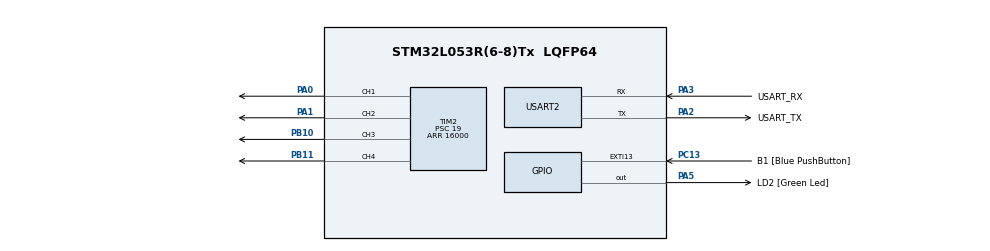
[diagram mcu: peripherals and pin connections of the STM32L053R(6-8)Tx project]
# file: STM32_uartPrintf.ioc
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Mcu.Family=STM32L0
Mcu.Name=STM32L053R(6-8)Tx
Mcu.Package=LQFP64
NVIC.TIM2_IRQn=true\:0\:0\:false\:false\:true\:true\:true\:true
NVIC.USART2_IRQn=true\:0\:0\:false\:false\:true\:true\:true\:true
PA0.Signal=S_TIM2_CH1
PA1.Signal=S_TIM2_CH2
PA13.GPIO_Label=TMS
PA13.Mode=Serial_Wire
PA13.Signal=SYS_SWDIO
PA14.GPIO_Label=TCK
PA14.Mode=Serial_Wire
PA14.Signal=SYS_SWCLK
PA2.GPIO_Label=USART_TX
PA2.Mode=Asynchronous
PA2.Signal=USART2_TX
PA3.GPIO_Label=USART_RX
PA3.Mode=Asynchronous
PA3.Signal=USART2_RX
PA5.GPIO_Label=LD2 [Green Led]
PA5.Signal=GPIO_Output
PB10.Signal=S_TIM2_CH3
PB11.Signal=S_TIM2_CH4
PC13.GPIO_Label=B1 [Blue PushButton]
PC13.GPIO_ModeDefaultEXTI=GPIO_MODE_IT_FALLING
PC13.Signal=GPXTI13
PC14-OSC32_IN.Mode=LSE-External-Oscillator
PC14-OSC32_IN.Signal=RCC_OSC32_IN
PC15-OSC32_OUT.Mode=LSE-External-Oscillator
PC15-OSC32_OUT.Signal=RCC_OSC32_OUT
PH0-OSC_IN.Mode=HSE-External-Clock-Source
PH0-OSC_IN.Signal=RCC_OSC_IN
PH1-OSC_OUT.Signal=RCC_OSC_OUT
ProjectManager.HeapSize=0x200
ProjectManager.StackSize=0x400
ProjectManager.TargetToolchain=STM32CubeIDE
RCC.AHBFreq_Value=16000000
RCC.APB1Freq_Value=16000000
RCC.APB1TimFreq_Value=16000000
RCC.APB2Freq_Value=16000000
RCC.APB2TimFreq_Value=16000000
RCC.HCLKFreq_Value=16000000
RCC.HSE_VALUE=8000000
RCC.HSI16_VALUE=16000000
RCC.HSI48_VALUE=48000000
RCC.HSI_VALUE=16000000
RCC.MSI_VALUE=2097000
RCC.SYSCLKFreq_VALUE=16000000
RCC.SYSCLKSource=RCC_SYSCLKSOURCE_HSI
RCC.VCOOutputFreq_Value=48000000
SH.S_TIM2_CH1.0=TIM2_CH1,PWM Generation1 CH1
SH.S_TIM2_CH2.0=TIM2_CH2,PWM Generation2 CH2
SH.S_TIM2_CH3.0=TIM2_CH3,PWM Generation3 CH3
SH.S_TIM2_CH4.0=TIM2_CH4,PWM Generation4 CH4
TIM2.Channel-PWM\ Generation1\ CH1=TIM_CHANNEL_1
TIM2.Channel-PWM\ Generation2\ CH2=TIM_CHANNEL_2
TIM2.Channel-PWM\ Generation3\ CH3=TIM_CHANNEL_3
TIM2.Channel-PWM\ Generation4\ CH4=TIM_CHANNEL_4
TIM2.Period=16000
TIM2.Prescaler=19
TIM2.Pulse-PWM\ Generation1\ CH1=4000
TIM2.Pulse-PWM\ Generation2\ CH2=4000
TIM2.Pulse-PWM\ Generation3\ CH3=4000
TIM2.Pulse-PWM\ Generation4\ CH4=4000
USART2.VirtualMode-Asynchronous=VM_ASYNC
VP_TIM2_VS_ClockSourceINT.Mode=Internal
board=NUCLEO-L053R8

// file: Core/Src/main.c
/* USER CODE BEGIN Header */
/**
  ******************************************************************************
  * @file           : main.c
  * @brief          : Main program body
  ******************************************************************************
  * @attention
  *
  * <h2><center>&copy; Copyright (c) 2020 STMicroelectronics.
  * All rights reserved.</center></h2>
  *
  * This software component is licensed by ST under BSD 3-Clause license,
  * the "License"; You may not use this file except in compliance with the
  * License. You may obtain a copy of the License at:
  *                        opensource.org/licenses/BSD-3-Clause
  *
  ******************************************************************************
  */
/* USER CODE END Header */
#include "main.h"
#include "tim.h"
#include "usart.h"
#include "gpio.h"

/* USER CODE BEGIN Includes */
#include <stdio.h>
#include <retarget.h>
#include <getch.h>
/* USER CODE END Includes */

void SystemClock_Config(void);

int main(void)
{

  /* MCU Configuration--------------------------------------------------------*/

  /* Reset of all peripherals, Initializes the Flash interface and the Systick. */

  LL_APB2_GRP1_EnableClock(LL_APB2_GRP1_PERIPH_SYSCFG);
  LL_APB1_GRP1_EnableClock(LL_APB1_GRP1_PERIPH_PWR);

  /* System interrupt init*/

  /* Configure the system clock */
  SystemClock_Config();

  /* Initialize all configured peripherals */
  MX_GPIO_Init();
  MX_USART2_UART_Init();
  MX_TIM2_Init();
  /* USER CODE BEGIN 2 */
  LL_SYSTICK_EnableIT();
  RetargetInit(USART2);
  getchInit();
  LL_USART_EnableIT_RXNE(USART2);

  LL_TIM_EnableCounter(TIM2);
  LL_TIM_CC_EnableChannel(TIM2, LL_TIM_CHANNEL_CH1);
  LL_TIM_CC_EnableChannel(TIM2, LL_TIM_CHANNEL_CH2);
  LL_TIM_CC_EnableChannel(TIM2, LL_TIM_CHANNEL_CH3);
  LL_TIM_CC_EnableChannel(TIM2, LL_TIM_CHANNEL_CH4);

  LL_TIM_OC_SetCompareCH1(TIM2, 1200);
  LL_TIM_OC_SetCompareCH2(TIM2, 1200);
  LL_TIM_OC_SetCompareCH3(TIM2, 1200);
  LL_TIM_OC_SetCompareCH4(TIM2, 1200);

  //init_GPIO();

  /* USER CODE END 2 */

  /* Infinite loop */
  /* USER CODE BEGIN WHILE */
  while (1)
  {

if(kbhit()){

		char var = getch();

			if(var == 'A')
			{
				  LL_TIM_OC_SetCompareCH1(TIM2, 1600);
				  LL_mDelay(1000);
				  LL_TIM_OC_SetCompareCH1(TIM2, 1200);

			}

			if(var == 'B')
			{
				  LL_TIM_OC_SetCompareCH2(TIM2, 1600);
				  LL_mDelay(1000);
				  LL_TIM_OC_SetCompareCH2(TIM2, 1200);
			}

			if(var == 'C')
			{
				  LL_TIM_OC_SetCompareCH3(TIM2, 1600);
				  LL_mDelay(1000);

				  LL_TIM_OC_SetCompareCH3(TIM2, 1200);
			}

			if(var == 'D')
			{
			  LL_TIM_OC_SetCompareCH4(TIM2, 1600);
			  LL_mDelay(1000);

			  LL_TIM_OC_SetCompareCH4(TIM2, 1200);
			}

		}

	}
    /* USER CODE END WHILE */

}

void SystemClock_Config(void)
{
  LL_FLASH_SetLatency(LL_FLASH_LATENCY_0);
  while(LL_FLASH_GetLatency()!= LL_FLASH_LATENCY_0)
  {
  }
  LL_PWR_SetRegulVoltageScaling(LL_PWR_REGU_VOLTAGE_SCALE1);
  LL_RCC_HSI_Enable();

   /* Wait till HSI is ready */
  while(LL_RCC_HSI_IsReady() != 1)
  {

  }
  LL_RCC_HSI_SetCalibTrimming(16);
  LL_RCC_SetAHBPrescaler(LL_RCC_SYSCLK_DIV_1);
  LL_RCC_SetAPB1Prescaler(LL_RCC_APB1_DIV_1);
  LL_RCC_SetAPB2Prescaler(LL_RCC_APB2_DIV_1);
  LL_RCC_SetSysClkSource(LL_RCC_SYS_CLKSOURCE_HSI);

   /* Wait till System clock is ready */
  while(LL_RCC_GetSysClkSource() != LL_RCC_SYS_CLKSOURCE_STATUS_HSI)
  {

  }

  LL_Init1msTick(16000000);

  LL_SetSystemCoreClock(16000000);
  LL_RCC_SetUSARTClockSource(LL_RCC_USART2_CLKSOURCE_PCLK1);
}

void Error_Handler(void)
{
}

/************************ (C) COPYRIGHT STMicroelectronics *****END OF FILE****/
